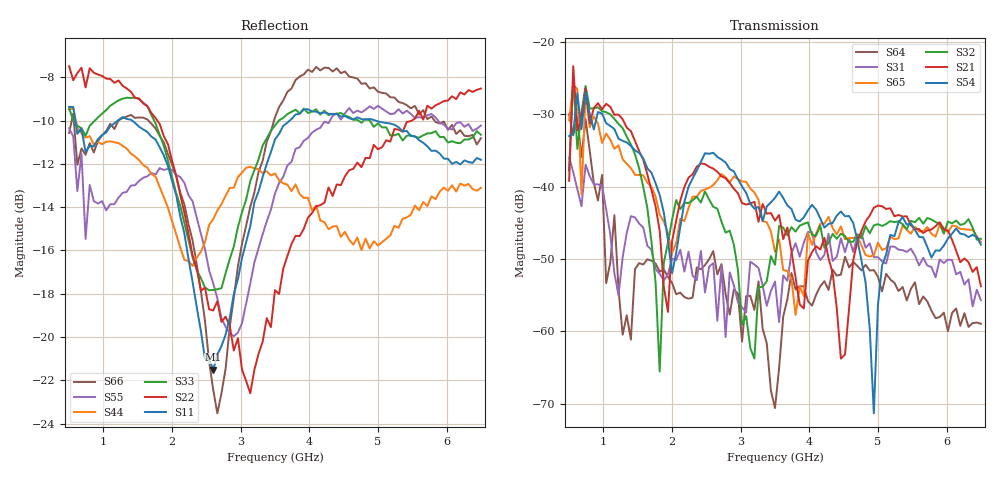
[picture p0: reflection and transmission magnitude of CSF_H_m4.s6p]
!Keysight Technologies,M9804A,MY58100912,A.14.10.03
!Date: Thursday, April 27, 2023 10:28:33
!Correction: S11(C  6-Port  )
!S12(C  6-Port  )
!S13(C  6-Port  )
!S14(C  6-Port  )
!S15(C  6-Port  )
!S16(C  6-Port  )
!S21(C  6-Port  )
!S22(C  6-Port  )
!S23(C  6-Port  )
!S24(C  6-Port  )
!S25(C  6-Port  )
!S26(C  6-Port  )
!S31(C  6-Port  )
!S32(C  6-Port  )
!S33(C  6-Port  )
!S34(C  6-Port  )
!S35(C  6-Port  )
!S36(C  6-Port  )
!S41(C  6-Port  )
!S42(C  6-Port  )
!S43(C  6-Port  )
!S44(C  6-Port  )
!S45(C  6-Port  )
!S46(C  6-Port  )
!S51(C  6-Port  )
!S52(C  6-Port  )
!S53(C  6-Port  )
!S54(C  6-Port  )
!S55(C  6-Port  )
!S56(C  6-Port  )
!S61(C  6-Port  )
!S62(C  6-Port  )
!S63(C  6-Port  )
!S64(C  6-Port  )
!S65(C  6-Port  )
!S66(C  6-Port  )
!S6P File: Measurement: :
# Hz S  RI  R 50
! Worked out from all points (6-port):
!   101 points, 500 MHz to 6.5 GHz, reference 50 ohm
!   strongest paths, dB at 500 MHz, 2 GHz, 3.5 GHz, 5 GHz, 6.5 GHz:
!     S54: -33.0, -52.0, -41.5, -56.4, -48.0
!     S21: -39.2, -47.5, -44.7, -42.6, -53.8
!     S32: -37.7, -44.6, -50.8, -45.2, -47.2
!     S65: -30.8, -49.2, -49.0, -47.7, -47.7
!     S31: -35.9, -50.0, -53.1, -49.7, -55.7
!     S64: -30.0, -53.3, -70.6, -52.4, -58.9
!   lowest |S11| = -21.5 dB at 2.6 GHz (marker M1), VSWR 1.18, Z = 42.5 + j2.07 ohm
!   |S11| at or under -10 dB: 590.7 MHz to 1.209 GHz (618.5 MHz wide, 68.7 % of centre); 1.42 GHz to 3.713 GHz (2.293 GHz wide, 89.4 % of centre); 4.969 GHz to end of sweep
